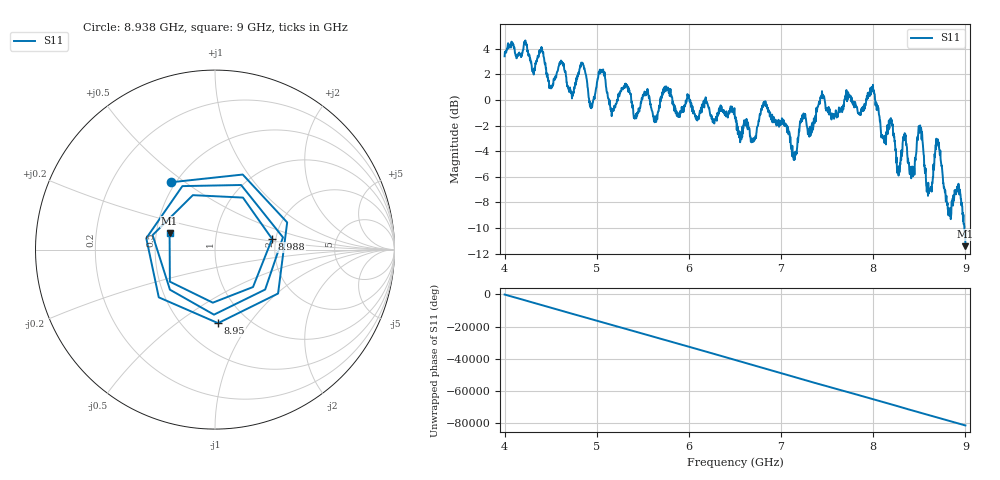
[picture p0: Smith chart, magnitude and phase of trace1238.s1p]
! Created with skrf 1.8.0 (http://scikit-rf.org).
# Hz S RI R 50.0
!freq ReS11 ImS11
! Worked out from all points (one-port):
!   1601 points, 4 GHz to 9 GHz, reference 50 ohm
!   lowest |S11| = -11.4 dB at 9 GHz (marker M1), VSWR 1.73, Z = 29.4 + j5.73 ohm
!   |S11| at or under -10 dB: 8.988807 GHz to end of sweep
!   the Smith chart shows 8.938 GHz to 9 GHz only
!   S11 on the Smith chart (normalised r, x): 8.938 GHz: 0.47, +0.45; 8.95 GHz: 0.73, -0.72; 8.988 GHz: 1.91, +0.25; 9 GHz: 0.59, +0.11
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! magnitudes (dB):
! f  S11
! 4 GHz  3.4
! 4.4 GHz  4.1
! 4.503 GHz  0.9
! 4.625 GHz  2.8
! 4.725 GHz  0.6
! 4.847 GHz  2.8
! 4.938 GHz  -0.4
! 5.044 GHz  2.3
! 5.159 GHz  -0.7
! 5.25 GHz  0.6
! 5.875 GHz  -1.0
! 6.5 GHz  -1.4
! 6.694 GHz  -3.3
! 6.831 GHz  -0.1
! 7.125 GHz  -4.4
! 7.441 GHz  0.2
! 7.75 GHz  0.3
! 7.991 GHz  0.9
! 8.272 GHz  -5.7
! 8.375 GHz  -4.9
! 8.506 GHz  -2.0
! 8.6 GHz  -7.1
! 8.697 GHz  -3.2
! 8.822 GHz  -8.9
! 8.938 GHz  -7.0
! 8.95 GHz  -7.7
! 8.988 GHz  -9.8
! 9 GHz  -11.4
